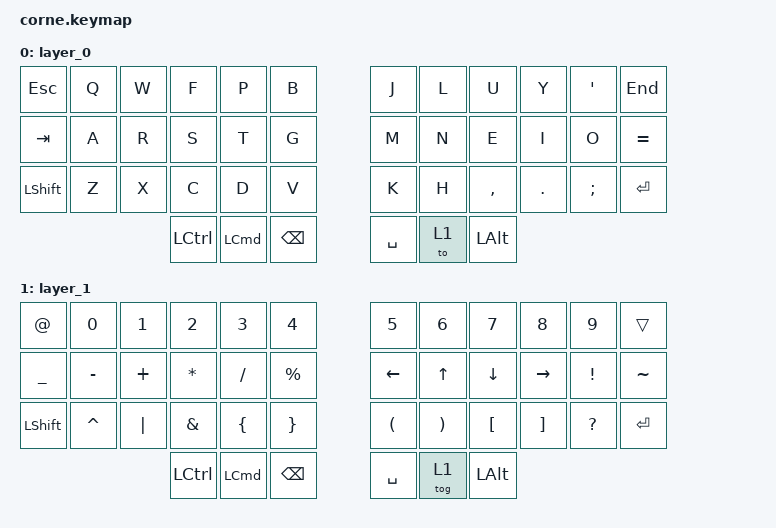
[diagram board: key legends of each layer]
/*
 * Copyright (c) 2020 The ZMK Contributors
 *
 * SPDX-License-Identifier: MIT
 */

#include <behaviors.dtsi>
#include <dt-bindings/zmk/keys.h>
#include <dt-bindings/zmk/keys.h>

/ {
    keymap {
        compatible = "zmk,keymap";

        layer_0 {
            bindings = <
&kp ESCAPE      &kp Q  &kp W  &kp F      &kp P             &kp B            &kp J      &kp L  &kp U         &kp Y       &kp SQT        &kp END
&kp TAB         &kp A  &kp R  &kp S      &kp T             &kp G            &kp M      &kp N  &kp E         &kp I       &kp O          &kp EQUAL
&kp LEFT_SHIFT  &kp Z  &kp X  &kp C      &kp D             &kp V            &kp K      &kp H  &kp COMMA     &kp PERIOD  &kp SEMICOLON  &kp ENTER
                              &kp LCTRL  &kp LEFT_COMMAND  &kp BACKSPACE    &kp SPACE  &to 1  &kp LEFT_ALT
            >;
        };

        layer_1 {
            bindings = <
&kp AT_SIGN     &kp N0     &kp NUMBER_1  &kp NUMBER_2      &kp NUMBER_3      &kp NUMBER_4       &kp N5                &kp NUMBER_6           &kp N7            &kp N8             &kp N9           &trans
&kp UNDER       &kp MINUS  &kp PLUS      &kp ASTERISK      &kp SLASH         &kp PERCENT        &kp LEFT              &kp UP_ARROW           &kp DOWN_ARROW    &kp RIGHT          &kp EXCLAMATION  &kp TILDE
&kp LEFT_SHIFT  &kp CARET  &kp PIPE      &kp AMPERSAND     &kp LEFT_BRACE    &kp RIGHT_BRACE    &kp LEFT_PARENTHESIS  &kp RIGHT_PARENTHESIS  &kp LEFT_BRACKET  &kp RIGHT_BRACKET  &kp QUESTION     &kp ENTER
                                         &kp LEFT_CONTROL  &kp LEFT_COMMAND  &kp BACKSPACE      &kp SPACE             &tog 1                 &kp LEFT_ALT
            >;
        };
    };
};


